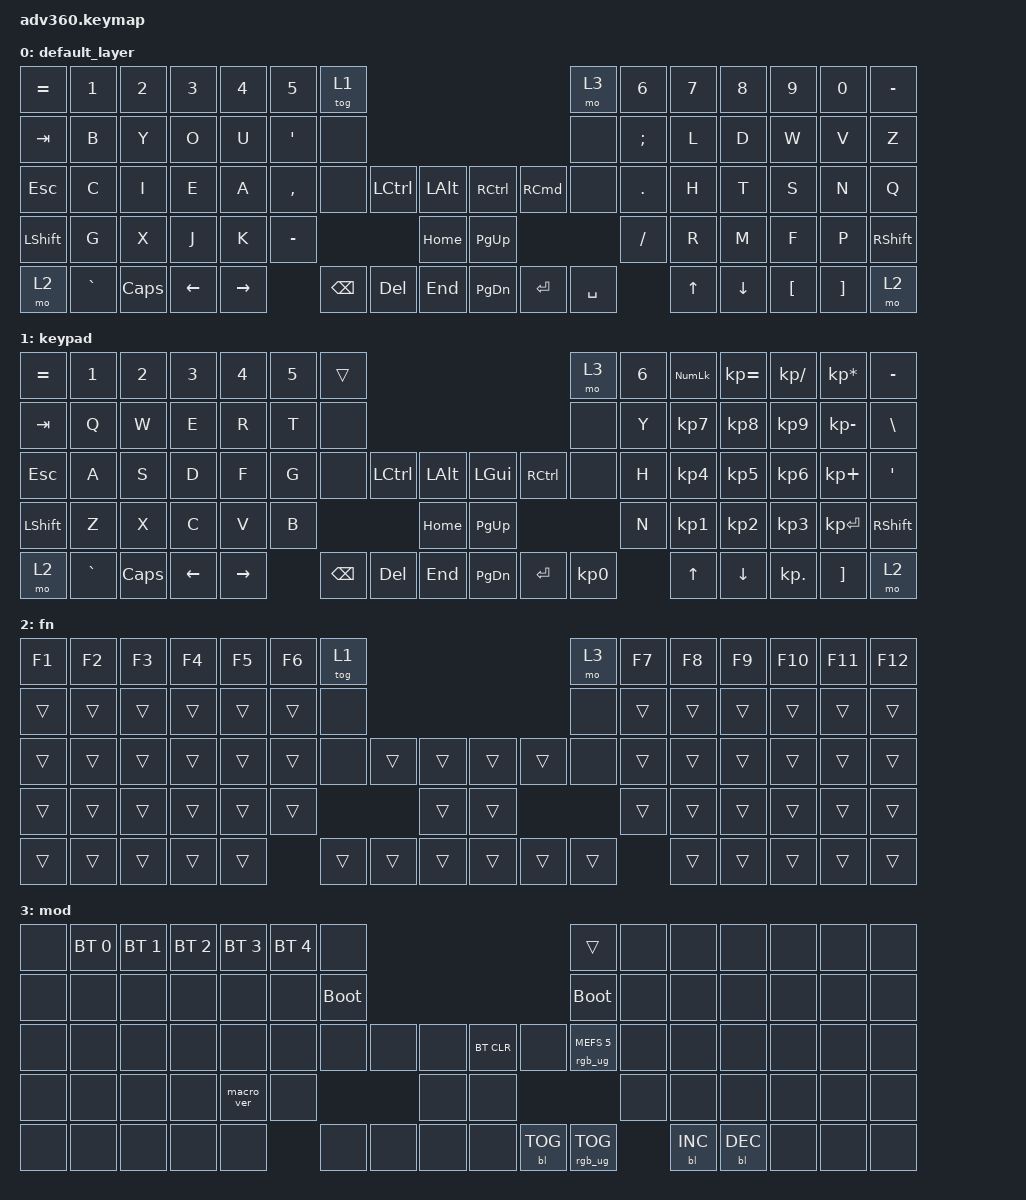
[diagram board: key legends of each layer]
#include <behaviors.dtsi>
#include <dt-bindings/zmk/backlight.h>
#include <dt-bindings/zmk/bt.h>
#include <dt-bindings/zmk/keys.h>
#include <dt-bindings/zmk/rgb.h>

/ {
    behaviors {
        #include "macros.dtsi"
      #include "version.dtsi"
      #ifndef VERSION_MACRO

        macro_ver: macro_ver {
            compatible = "zmk,behavior-macro";
            label = "macro_version";
            #binding-cells = <0>;
            bindings = <&kp RET>;
        };

        shortcat: shortcat {
            compatible = "zmk,behavior-macro";
            #binding-cells = <0>;
            bindings = <&macro_tap>, <&kp LG(LS(SPACE))>;

            label = "SHORTCAT";
        };

        strongbox: strongbox {
            compatible = "zmk,behavior-macro";
            #binding-cells = <0>;
            bindings = <&macro_tap>, <&kp LS(LC(J))>;

            label = "STRONGBOX";
        };

        #endif

        hm: homerow_mods {
            compatible = "zmk,behavior-hold-tap";
            label = "HOMEROW_MODS";
            #binding-cells = <2>;
            tapping-term-ms = <200>;
            quick_tap_ms = <175>;
            flavor = "tap-preferred";
            bindings = <&kp>, <&kp>;
        };
    };

    macros {
    };

    keymap {
        compatible = "zmk,keymap";

        default_layer {
            bindings = <
&kp EQUAL  &kp N1     &kp N2    &kp N3    &kp N4     &kp N5     &tog 1                                                                   &mo 3      &kp N6         &kp N7  &kp N8    &kp N9    &kp N0    &kp MINUS
&kp TAB    &kp B      &kp Y     &kp O     &kp U      &kp SQT    &none                                                                    &none      &kp SEMICOLON  &kp L   &kp D     &kp W     &kp V     &kp Z
&kp ESC    &kp C      &kp I     &kp E     &kp A      &kp COMMA  &none     &kp LCTRL  &kp LALT      &kp RIGHT_CONTROL  &kp RIGHT_COMMAND  &none      &kp PERIOD     &kp H   &kp T     &kp S     &kp N     &kp Q
&kp LSHFT  &kp G      &kp X     &kp J     &kp K      &kp MINUS                       &kp HOME      &kp PG_UP                                        &kp SLASH      &kp R   &kp M     &kp F     &kp P     &kp RSHFT
&mo 2      &kp GRAVE  &kp CAPS  &kp LEFT  &kp RIGHT             &kp BSPC  &kp DEL    &kp END       &kp PG_DN          &kp ENTER          &kp SPACE                 &kp UP  &kp DOWN  &kp LBKT  &kp RBKT  &mo 2
            >;
        };

        keypad {
            bindings = <
&kp EQUAL  &kp N1     &kp N2    &kp N3    &kp N4     &kp N5  &trans                                                   &mo 3      &kp N6  &kp KP_NUM  &kp KP_EQUAL  &kp KP_DIVIDE  &kp KP_MULTIPLY  &kp MINUS
&kp TAB    &kp Q      &kp W     &kp E     &kp R      &kp T   &none                                                    &none      &kp Y   &kp KP_N7   &kp KP_N8     &kp KP_N9      &kp KP_MINUS     &kp BSLH
&kp ESC    &kp A      &kp S     &kp D     &kp F      &kp G   &none     &kp LCTRL  &kp LALT      &kp LGUI   &kp RCTRL  &none      &kp H   &kp KP_N4   &kp KP_N5     &kp KP_N6      &kp KP_PLUS      &kp SQT
&kp LSHFT  &kp Z      &kp X     &kp C     &kp V      &kp B                        &kp HOME      &kp PG_UP                        &kp N   &kp KP_N1   &kp KP_N2     &kp KP_N3      &kp KP_ENTER     &kp RSHFT
&mo 2      &kp GRAVE  &kp CAPS  &kp LEFT  &kp RIGHT          &kp BSPC  &kp DEL    &kp END       &kp PG_DN  &kp ENTER  &kp KP_N0          &kp UP      &kp DOWN      &kp KP_DOT     &kp RBKT         &mo 2
            >;
        };

        fn {
            bindings = <
&kp F1  &kp F2  &kp F3  &kp F4  &kp F5  &kp F6  &tog 1                                      &mo 3   &kp F7  &kp F8  &kp F9  &kp F10  &kp F11  &kp F12
&trans  &trans  &trans  &trans  &trans  &trans  &none                                       &none   &trans  &trans  &trans  &trans   &trans   &trans
&trans  &trans  &trans  &trans  &trans  &trans  &none   &trans  &trans      &trans  &trans  &none   &trans  &trans  &trans  &trans   &trans   &trans
&trans  &trans  &trans  &trans  &trans  &trans                  &trans      &trans                  &trans  &trans  &trans  &trans   &trans   &trans
&trans  &trans  &trans  &trans  &trans          &trans  &trans  &trans      &trans  &trans  &trans          &trans  &trans  &trans   &trans   &trans
            >;
        };

        mod {
            bindings = <
&none  &bt BT_SEL 0  &bt BT_SEL 1  &bt BT_SEL 2  &bt BT_SEL 3  &bt BT_SEL 4  &none                                                  &trans                  &none  &none       &none       &none  &none  &none
&none  &none         &none         &none         &none         &none         &bootloader                                            &bootloader             &none  &none       &none       &none  &none  &none
&none  &none         &none         &none         &none         &none         &none        &none  &none      &bt BT_CLR  &none       &rgb_ug RGB_MEFS_CMD 5  &none  &none       &none       &none  &none  &none
&none  &none         &none         &none         &macro_ver    &none                             &none      &none                                           &none  &none       &none       &none  &none  &none
&none  &none         &none         &none         &none                       &none        &none  &none      &none       &bl BL_TOG  &rgb_ug RGB_TOG                &bl BL_INC  &bl BL_DEC  &none  &none  &none
            >;
        };
    };
};
